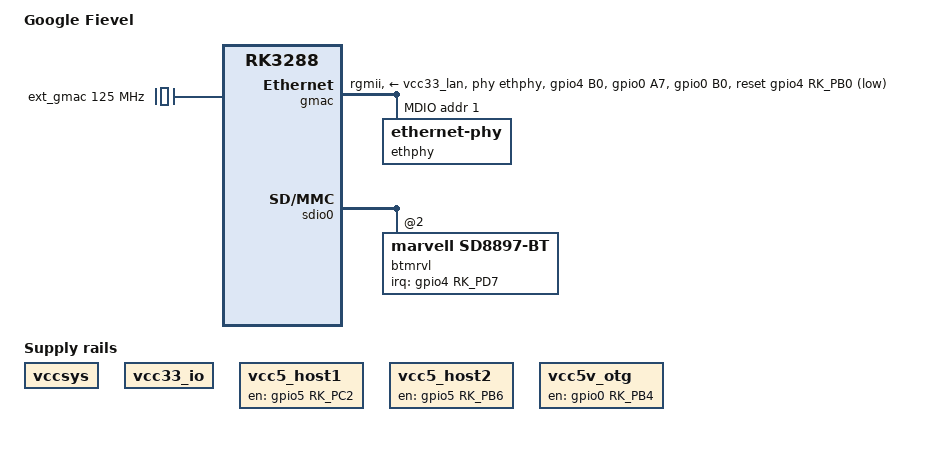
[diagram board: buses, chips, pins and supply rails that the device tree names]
// SPDX-License-Identifier: (GPL-2.0+ OR MIT)
/*
 * Google Veyron Fievel Rev 0+ board device tree source
 *
 * Copyright 2016 Google, Inc
 */

/dts-v1/;
#include "rk3288-veyron.dtsi"
#include "rk3288-veyron-analog-audio.dtsi"

/ {
	model = "Google Fievel";
	compatible = "google,veyron-fievel-rev8", "google,veyron-fievel-rev7",
		     "google,veyron-fievel-rev6", "google,veyron-fievel-rev5",
		     "google,veyron-fievel-rev4", "google,veyron-fievel-rev3",
		     "google,veyron-fievel-rev2", "google,veyron-fievel-rev1",
		     "google,veyron-fievel-rev0", "google,veyron-fievel",
		     "google,veyron", "rockchip,rk3288";

	/delete-node/ bt-activity;

	vccsys: vccsys {
		compatible = "regulator-fixed";
		regulator-name = "vccsys";
		regulator-boot-on;
		regulator-always-on;
	};

	/*
	 * vcc33_pmuio and vcc33_io is sourced directly from vcc33_sys,
	 * enabled by vcc_18
	 */
	vcc33_io: vcc33-io {
		compatible = "regulator-fixed";
		regulator-always-on;
		regulator-boot-on;
		regulator-name = "vcc33_io";
	};

	vcc5_host1: vcc5-host1-regulator {
		compatible = "regulator-fixed";
		enable-active-high;
		gpio = <&gpio5 RK_PC2 GPIO_ACTIVE_HIGH>;
		pinctrl-names = "default";
		pinctrl-0 = <&hub_usb1_pwr_en>;
		regulator-name = "vcc5_host1";
		regulator-always-on;
		regulator-boot-on;
	};

	vcc5_host2: vcc5-host2-regulator {
		compatible = "regulator-fixed";
		enable-active-high;
		gpio = <&gpio5 RK_PB6 GPIO_ACTIVE_HIGH>;
		pinctrl-names = "default";
		pinctrl-0 = <&hub_usb2_pwr_en>;
		regulator-name = "vcc5_host2";
		regulator-always-on;
		regulator-boot-on;
	};

	vcc5v_otg: vcc5v-otg-regulator {
		compatible = "regulator-fixed";
		enable-active-high;
		gpio = <&gpio0 RK_PB4 GPIO_ACTIVE_HIGH>;
		pinctrl-names = "default";
		pinctrl-0 = <&usb_otg_pwr_en>;
		regulator-name = "vcc5_otg";
		regulator-always-on;
		regulator-boot-on;
	};

	ext_gmac: external-gmac-clock {
		compatible = "fixed-clock";
		#clock-cells = <0>;
		clock-frequency = <125000000>;
		clock-output-names = "ext_gmac";
	};
};

&gmac {
	status = "okay";

	assigned-clocks = <&cru SCLK_MAC>;
	assigned-clock-parents = <&ext_gmac>;
	clock_in_out = "input";
	phy-handle = <&ethphy>;
	phy-mode = "rgmii";
	phy-supply = <&vcc33_lan>;
	pinctrl-names = "default";
	pinctrl-0 = <&rgmii_pins>, <&phy_rst>, <&phy_pmeb>, <&phy_int>;
	rx_delay = <0x10>;
	tx_delay = <0x30>;

	/*
	 * Reset for the RTL8211 PHY which requires a 10-ms reset pulse (low)
	 * with a 30ms settling time.
	 */
	snps,reset-gpio = <&gpio4 RK_PB0 0>;
	snps,reset-active-low;
	snps,reset-delays-us = <0 10000 30000>;
	wakeup-source;

	mdio0 {
		compatible = "snps,dwmac-mdio";
		#address-cells = <1>;
		#size-cells = <0>;

		ethphy: ethernet-phy@1 {
			reg = <1>;
		};
	};
};

&rk808 {
	dvs-gpios = <&gpio7 RK_PB4 GPIO_ACTIVE_HIGH>,
		    <&gpio7 RK_PB7 GPIO_ACTIVE_HIGH>;
	pinctrl-names = "default";
	pinctrl-0 = <&pmic_int_l &dvs_1 &dvs_2>;

	vcc6-supply = <&vcc33_sys>;
	vcc10-supply = <&vcc33_sys>;
	vcc11-supply = <&vcc_5v>;
	vcc12-supply = <&vcc33_sys>;

	regulators {
		/delete-node/ LDO_REG1;

		/*
		 * According to the schematic, vcc18_lcdt is for
		 * HDMI_AVDD_1V8
		 */
		vcc18_lcdt: LDO_REG2 {
			regulator-always-on;
			regulator-boot-on;
			regulator-min-microvolt = <1800000>;
			regulator-max-microvolt = <1800000>;
			regulator-name = "vdd18_lcdt";
			regulator-state-mem {
				regulator-off-in-suspend;
			};
		};

		/*
		 * This is not a pwren anymore, but the real power supply,
		 * vdd10_lcd for HDMI_AVDD_1V0
		 */
		vdd10_lcd: LDO_REG7 {
			regulator-always-on;
			regulator-boot-on;
			regulator-min-microvolt = <1000000>;
			regulator-max-microvolt = <1000000>;
			regulator-name = "vdd10_lcd";
			regulator-state-mem {
				regulator-off-in-suspend;
			};
		};

		/* for usb camera */
		vcc33_ccd: LDO_REG8 {
			regulator-always-on;
			regulator-boot-on;
			regulator-min-microvolt = <3300000>;
			regulator-max-microvolt = <3300000>;
			regulator-name = "vcc33_ccd";
			regulator-state-mem {
				regulator-off-in-suspend;
			};
		};

		vcc33_lan: SWITCH_REG2 {
			regulator-name = "vcc33_lan";
		};
	};
};

&sdio0 {
	#address-cells = <1>;
	#size-cells = <0>;

	btmrvl: btmrvl@2 {
		compatible = "marvell,sd8897-bt";
		reg = <2>;
		interrupt-parent = <&gpio4>;
		interrupts = <RK_PD7 IRQ_TYPE_LEVEL_LOW>;
		marvell,wakeup-pin = /bits/ 16 <13>;
		pinctrl-names = "default";
		pinctrl-0 = <&bt_host_wake_l>;
	};
};

&vcc50_hdmi {
	enable-active-high;
	gpio = <&gpio5 RK_PC3 GPIO_ACTIVE_HIGH>;
	pinctrl-names = "default";
	pinctrl-0 = <&vcc50_hdmi_en>;
};

&vcc_5v {
	enable-active-high;
	gpio = <&gpio7 RK_PC5 GPIO_ACTIVE_HIGH>;
	pinctrl-names = "default";
	pinctrl-0 = <&drv_5v>;
};

&gpio0 {
	gpio-line-names = "PMIC_SLEEP_AP",
			  "DDRIO_PWROFF",
			  "DDRIO_RETEN",
			  "TS3A227E_INT_L",
			  "PMIC_INT_L",
			  "PWR_KEY_L",
			  "HUB_USB1_nFALUT",
			  "PHY_PMEB",

			  "PHY_INT",
			  "REC_MODE_L",
			  "OTP_OUT",
			  "",
			  "USB_OTG_POWER_EN",
			  "AP_WARM_RESET_H",
			  "USB_OTG_nFALUT",
			  "I2C0_SDA_PMIC",

			  "I2C0_SCL_PMIC",
			  "DEVMODE_L",
			  "USB_INT";
};

&gpio2 {
	gpio-line-names = "CONFIG0",
			  "CONFIG1",
			  "CONFIG2",
			  "",
			  "",
			  "",
			  "",
			  "CONFIG3",

			  "",
			  "EMMC_RST_L",
			  "",
			  "",
			  "BL_PWR_EN",
			  "",
			  "TOUCH_INT",
			  "TOUCH_RST",

			  "I2C3_SCL_TP",
			  "I2C3_SDA_TP";
};

&gpio3 {
	gpio-line-names = "FLASH0_D0",
			  "FLASH0_D1",
			  "FLASH0_D2",
			  "FLASH0_D3",
			  "FLASH0_D4",
			  "FLASH0_D5",
			  "FLASH0_D6",
			  "FLASH0_D7",

			  "VCC5V_GOOD_H",
			  "",
			  "",
			  "",
			  "",
			  "",
			  "",
			  "",

			  "FLASH0_CS2/EMMC_CMD",
			  "",
			  "FLASH0_DQS/EMMC_CLKO",
			  "",
			  "",
			  "",
			  "",
			  "",

			  "PHY_TXD2",
			  "PHY_TXD3",
			  "MAC_RXD2",
			  "MAC_RXD3",
			  "PHY_TXD0",
			  "PHY_TXD1",
			  "MAC_RXD0",
			  "MAC_RXD1";
};

&gpio4 {
	gpio-line-names = "MAC_MDC",
			  "MAC_RXDV",
			  "MAC_RXER",
			  "MAC_CLK",
			  "PHY_TXEN",
			  "MAC_MDIO",
			  "MAC_RXCLK",
			  "",

			  "PHY_RST",
			  "PHY_TXCLK",
			  "",
			  "",
			  "",
			  "",
			  "",
			  "",

			  "UART0_RXD",
			  "UART0_TXD",
			  "UART0_CTS_L",
			  "UART0_RTS_L",
			  "SDIO0_D0",
			  "SDIO0_D1",
			  "SDIO0_D2",
			  "SDIO0_D3",

			  "SDIO0_CMD",
			  "SDIO0_CLK",
			  "BT_DEV_WAKE",
			  "",
			  "WIFI_ENABLE_H",
			  "BT_ENABLE_L",
			  "WIFI_HOST_WAKE",
			  "BT_HOST_WAKE";
};

&gpio5 {
	gpio-line-names = "",
			  "",
			  "",
			  "",
			  "",
			  "",
			  "",
			  "",

			  "",
			  "",
			  "",
			  "",
			  "USB_OTG_CTL1",
			  "HUB_USB2_CTL1",
			  "HUB_USB2_PWR_EN",
			  "HUB_USB_ILIM_SEL",

			  "USB_OTG_STATUS_L",
			  "HUB_USB1_CTL1",
			  "HUB_USB1_PWR_EN",
			  "VCC50_HDMI_EN";
};

&gpio6 {
	gpio-line-names = "I2S0_SCLK",
			  "I2S0_LRCK_RX",
			  "I2S0_LRCK_TX",
			  "I2S0_SDI",
			  "I2S0_SDO0",
			  "HP_DET_H",
			  "",
			  "INT_CODEC",

			  "I2S0_CLK",
			  "I2C2_SDA",
			  "I2C2_SCL",
			  "MICDET",
			  "",
			  "",
			  "",
			  "",

			  "HUB_USB2_nFALUT",
			  "USB_OTG_ILIM_SEL";
};

&gpio7 {
	gpio-line-names = "LCD_BL_PWM",
			  "PWM_LOG",
			  "BL_EN",
			  "PWR_LED1",
			  "TPM_INT_H",
			  "SPK_ON",
			  "FW_WP_AP",
			  "",

			  "CPU_NMI",
			  "DVSOK",
			  "",
			  "EDP_HPD",
			  "DVS1",
			  "",
			  "LCD_EN",
			  "DVS2",

			  "HDMI_CEC",
			  "I2C4_SDA",
			  "I2C4_SCL",
			  "I2C5_SDA_HDMI",
			  "I2C5_SCL_HDMI",
			  "5V_DRV",
			  "UART2_RXD",
			  "UART2_TXD";
};

&gpio8 {
	gpio-line-names = "RAM_ID0",
			  "RAM_ID1",
			  "RAM_ID2",
			  "RAM_ID3",
			  "I2C1_SDA_TPM",
			  "I2C1_SCL_TPM",
			  "SPI2_CLK",
			  "SPI2_CS0",

			  "SPI2_RXD",
			  "SPI2_TXD";
};

&pinctrl {
	pinctrl-names = "default", "sleep";
	pinctrl-0 = <
		/* Common for sleep and wake, but no owners */
		&ddr0_retention
		&ddrio_pwroff
		&global_pwroff

		/* For usb bc1.2 */
		&usb_otg_ilim_sel
		&usb_usb_ilim_sel

		/* Wake only */
		&bt_dev_wake_awake
		&pwr_led1_on
	>;

	pinctrl-1 = <
		/* Common for sleep and wake, but no owners */
		&ddr0_retention
		&ddrio_pwroff
		&global_pwroff

		/* For usb bc1.2 */
		&usb_otg_ilim_sel
		&usb_usb_ilim_sel

		/* Sleep only */
		&bt_dev_wake_sleep
		&pwr_led1_blink
	>;

	buck-5v {
		drv_5v: drv-5v {
			rockchip,pins = <7 RK_PC5 RK_FUNC_GPIO &pcfg_pull_none>;
		};
	};

	gmac {
		phy_rst: phy-rst {
			rockchip,pins = <4 RK_PB0 RK_FUNC_GPIO &pcfg_output_high>;
		};

		phy_pmeb: phy-pmeb {
			rockchip,pins = <0 RK_PA7 RK_FUNC_GPIO &pcfg_pull_up>;
		};

		phy_int: phy-int {
			rockchip,pins = <0 RK_PB0 RK_FUNC_GPIO &pcfg_pull_up>;
		};
	};

	hdmi {
		vcc50_hdmi_en: vcc50-hdmi-en {
			rockchip,pins = <5 RK_PC3 RK_FUNC_GPIO &pcfg_pull_none>;
		};
	};

	leds {
		pwr_led1_on: pwr-led1-on {
			rockchip,pins = <7 RK_PA3 RK_FUNC_GPIO &pcfg_output_low>;
		};

		pwr_led1_blink: pwr-led1-blink {
			rockchip,pins = <7 RK_PA3 RK_FUNC_GPIO &pcfg_output_high>;
		};
	};

	pmic {
		dvs_1: dvs-1 {
			rockchip,pins = <7 RK_PB4 RK_FUNC_GPIO &pcfg_pull_down>;
		};

		dvs_2: dvs-2 {
			rockchip,pins = <7 RK_PB7 RK_FUNC_GPIO &pcfg_pull_down>;
		};
	};

	usb-bc12 {
		usb_otg_ilim_sel: usb-otg-ilim-sel {
			rockchip,pins = <6 RK_PC1 RK_FUNC_GPIO &pcfg_output_low>;
		};

		usb_usb_ilim_sel: usb-usb-ilim-sel {
			rockchip,pins = <5 RK_PB7 RK_FUNC_GPIO &pcfg_output_low>;
		};
	};

	usb-host {
		hub_usb1_pwr_en: hub_usb1_pwr_en {
			rockchip,pins = <5 RK_PC2 RK_FUNC_GPIO &pcfg_pull_none>;
		};

		hub_usb2_pwr_en: hub_usb2_pwr_en {
			rockchip,pins = <5 RK_PB6 RK_FUNC_GPIO &pcfg_pull_none>;
		};

		usb_otg_pwr_en: usb_otg_pwr_en {
			rockchip,pins = <0 RK_PB4 RK_FUNC_GPIO &pcfg_pull_none>;
		};
	};
};
